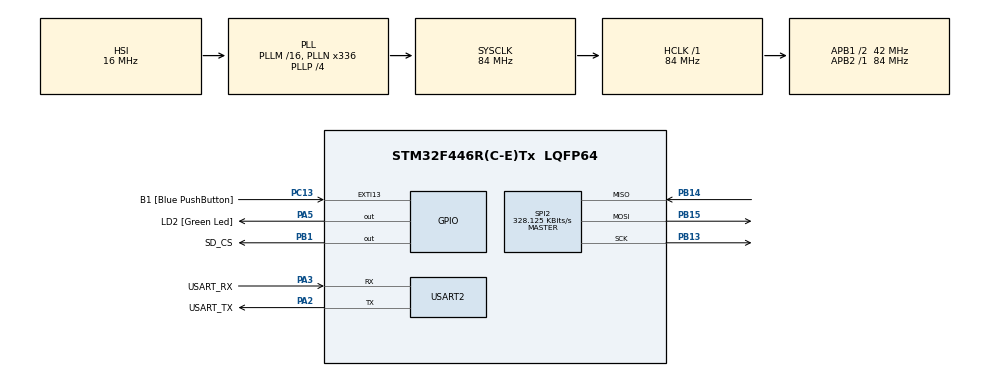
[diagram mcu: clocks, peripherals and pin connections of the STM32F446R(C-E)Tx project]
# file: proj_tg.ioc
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FATFS._FS_TINY=1
Mcu.Family=STM32F4
Mcu.Name=STM32F446R(C-E)Tx
Mcu.Package=LQFP64
NVIC.PriorityGroup=NVIC_PRIORITYGROUP_0
PA13.GPIO_Label=TMS
PA13.Mode=Serial_Wire
PA13.Signal=SYS_JTMS-SWDIO
PA14.GPIO_Label=TCK
PA14.Mode=Serial_Wire
PA14.Signal=SYS_JTCK-SWCLK
PA2.GPIO_Label=USART_TX
PA2.Mode=Asynchronous
PA2.Signal=USART2_TX
PA3.GPIO_Label=USART_RX
PA3.Mode=Asynchronous
PA3.Signal=USART2_RX
PA5.GPIO_Label=LD2 [Green Led]
PA5.Signal=GPIO_Output
PB1.GPIO_Label=SD_CS
PB1.GPIO_PuPd=GPIO_PULLUP
PB1.GPIO_Speed=GPIO_SPEED_FREQ_HIGH
PB1.Signal=GPIO_Output
PB13.Mode=Full_Duplex_Master
PB13.Signal=SPI2_SCK
PB14.GPIO_PuPd=GPIO_PULLUP
PB14.Mode=Full_Duplex_Master
PB14.Signal=SPI2_MISO
PB15.GPIO_PuPd=GPIO_PULLUP
PB15.Mode=Full_Duplex_Master
PB15.Signal=SPI2_MOSI
PB3.GPIO_Label=SWO
PB3.Signal=SYS_JTDO-SWO
PC13.GPIO_Label=B1 [Blue PushButton]
PC13.GPIO_ModeDefaultEXTI=GPIO_MODE_IT_FALLING
PC13.Signal=GPXTI13
PC14-OSC32_IN.Mode=LSE-External-Oscillator
PC14-OSC32_IN.Signal=RCC_OSC32_IN
PC15-OSC32_OUT.Mode=LSE-External-Oscillator
PC15-OSC32_OUT.Signal=RCC_OSC32_OUT
PH0-OSC_IN.Mode=HSE-External-Oscillator
PH0-OSC_IN.Signal=RCC_OSC_IN
PH1-OSC_OUT.Mode=HSE-External-Oscillator
PH1-OSC_OUT.Signal=RCC_OSC_OUT
ProjectManager.HeapSize=0x800
ProjectManager.StackSize=0x800
ProjectManager.TargetToolchain=STM32CubeIDE
RCC.48MHZClocksFreq_Value=84000000
RCC.AHBFreq_Value=84000000
RCC.APB1CLKDivider=RCC_HCLK_DIV2
RCC.APB1Freq_Value=42000000
RCC.APB1TimFreq_Value=84000000
RCC.APB2Freq_Value=84000000
RCC.APB2TimFreq_Value=84000000
RCC.CortexFreq_Value=84000000
RCC.FLatency-AdvancedSettings=FLASH_LATENCY_2
RCC.HCLKFreq_Value=84000000
RCC.HSE_VALUE=8000000
RCC.HSI_VALUE=16000000
RCC.PLLN=336
RCC.PLLP=RCC_PLLP_DIV4
RCC.SYSCLKFreq_VALUE=84000000
RCC.SYSCLKSource=RCC_SYSCLKSOURCE_PLLCLK
RCC.USBFreq_Value=168000000
RCC.VCOOutputFreq_Value=336000000
SPI2.BaudRatePrescaler=SPI_BAUDRATEPRESCALER_128
SPI2.CalculateBaudRate=328.125 KBits/s
SPI2.Direction=SPI_DIRECTION_2LINES
SPI2.Mode=SPI_MODE_MASTER
SPI2.VirtualType=VM_MASTER
STMicroelectronics.X-CUBE-AI.8.1.0.HeapSize=0x800
STMicroelectronics.X-CUBE-AI.8.1.0.ReadyForCodeGeneration=false
STMicroelectronics.X-CUBE-AI.8.1.0.StackSize=0x800
USART2.VirtualMode=VM_ASYNC
VP_FATFS_VS_Generic.Mode=User_defined
board=NUCLEO-F446RE

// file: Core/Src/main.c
/* USER CODE BEGIN Header */
/**
 ******************************************************************************
 * @file           : main.c
 * @brief          : Main program body
 ******************************************************************************
 * @attention
 *
 * Copyright (c) 2023 STMicroelectronics.
 * All rights reserved.
 *
 * This software is licensed under terms that can be found in the LICENSE file
 * in the root directory of this software component.
 * If no LICENSE file comes with this software, it is provided AS-IS.
 *
 ******************************************************************************
 */
/*
 * proj_tg ->	Projeto onde eu faco a leitura dos arquivos de audio um cartao
 * 			 	SD para um buffer e depois faco a inferencia com base nos dados
 * 			 	lidos.
 */

/* USER CODE END Header */
#include "main.h"
#include "fatfs.h"

/* USER CODE BEGIN Includes */
#define ARM_MATH_CM4
#include "arm_math.h"
#include <stdio.h>
#include <string.h>
#include <stdarg.h> //for va_list var arg functions
#include <math.h>
#include "FeatureExtraction.h"
#include "SDCard.h"
#include "decision_tree_model.h"
//#include "extra_trees_model.h"
//#include "gaussian_naive_bayes_model.h"
//#include "random_forest_model.h"

/* USER CODE END Includes */

/* USER CODE BEGIN PTD */
typedef struct {
	char chunkID[4];
	uint32_t chunkSize;
	char format[4];
	char subchunk1ID[4];
	uint32_t subchunk1Size;
	uint16_t audioFormat;
	uint16_t numChannels;
	uint32_t sampleRate;
	uint32_t byteRate;
	uint16_t blockAlign;
	uint16_t bitsPerSample;
	char subchunk2ID[4];
	uint32_t subchunk2Size;
} WAVHeader; //

/* USER CODE END PTD */

/* USER CODE BEGIN PD */
#define AUDIO_FILE_NAME "audio.wav"
#define CSV_FILE_NAME "audio.csv"
#define CSV_HEADER "RMS,Variance,Skewness,Kurtosis,CrestFactor,ShapeFactor,ImpulseFactor,MarginFactor,Peak1,Peak2,Peak3,PeakLocs1,PeakLocs2,PeakLocs3"
#define INPUT_BUFFER_SIZE 4096
#define HALF_INPUT_BUFFER_SIZE (INPUT_BUFFER_SIZE / 2)
#define INPUT_SIGNAL_SIZE (INPUT_BUFFER_SIZE * 2)
#define OUTPUT_SIGNAL_SIZE (INPUT_SIGNAL_SIZE / 2)
#define SAMPLE_RATE_HZ 44800 											//TODO: MUDAR DE ACORDO COM O VALOR REAL MOSTRADO PELO PROJETO
#define OVERLAP_FACTOR 0.75  											// Overlapping de 75%
#define ADVANCE_SIZE (int)(INPUT_BUFFER_SIZE * (1.0f - OVERLAP_FACTOR)) // 25% de avanco

//#define INT16_TO_FLOAT (1.0 / (32768.0f))
//#define FLOAT_TO_INT16 32768.0f
#define INT_TO_FLOAT (1.0 / (4096.0f))
#define FLOAT_TO_INT 4096.0f

// Definir apenas uma dessas opcoes:
#define USE_SD_AUDIO           		// Usar audio do cartao SD
//#define USE_MIC_AUDIO             // Usar microfone (ADC + DMA)

// Verificação para garantir que apenas uma opcao esta ativa
#if defined(USE_SD_AUDIO) && defined(USE_MIC_AUDIO)
	#error "Vocc deve definir apenas uma das opcoes: USE_SD_AUDIO ou USE_MIC_AUDIO"
#endif

/* USER CODE END PD */

SPI_HandleTypeDef hspi2;

UART_HandleTypeDef huart2;

/* USER CODE BEGIN PV */
// Variaveis comuns
static volatile int16_t inputBuffer[INPUT_BUFFER_SIZE];	// Buffer para armazenar os dados de entrada (ADC ou arquivo .wav)
static float32_t inputSignal[INPUT_SIGNAL_SIZE]; 		// Buffer de entrada da FFT
float32_t outputSignal[OUTPUT_SIGNAL_SIZE]; 			// Buffer de saída para os resultados
float32_t hanningWindow[OUTPUT_SIGNAL_SIZE]; 			// Buffer para a janela de hanning
//static volatile uint8_t fftBufferReadyFlag; 			// Variavel que informa se o buffer entrada da FFT esta pronto para processamento
arm_rfft_fast_instance_f32 fftHandler;					// Esturura para FFT real

#ifdef USE_SD_AUDIO
int16_t audioBuffer[INPUT_BUFFER_SIZE]; // Buffer para armazenar amostras de áudio lidas do arquivo WAV
FATFS FatFs; 							// Estrutura do FatFs
FIL inputFile;           				// Estrtura de um arquivo do FatFs (Arquivo WAV no cartão SD)
FIL outputFile;           				// Estrtura de um arquivo do FatFs (Arquivo csv no cartão SD)
FRESULT fres; 							// Estutura de resultado de uma operacao do FatFs
UINT bytesRead;                     	// Numero de bytes lidos do arquivo
WAVHeader wavHeader;					// Estura de um cabecalho de um arquivo .wav
uint32_t dataSize;						// Variavel para armazenar a quantidade de dados lida do sd card
#endif

#ifdef USE_MIC_AUDIO
	int16_t adcBuffer[INPUT_BUFFER_SIZE];		// Buffer de dados do ADC para capturar audio do microfone
	static volatile uint8_t bufferReadyFlag;	// Variavel que informa se o inputBuffer esta pronto para leitura
	ADC_HandleTypeDef hadc1;					// Estrutura do ADC
	TIM_HandleTypeDef htim2;					// Estrutura do Timer 2 para o DMA
#endif

// Time Domain Features
static TDFeatures tdFeatures = { 0 }; // Estrutura das features relacionadas ao dominio do Tempo

// Frequency Domain Features
static FDFeatures fdFeatures = { 0 }; // Estrutura das features relacionadas ao dominio da Frequencia

/* USER CODE END PV */

void SystemClock_Config(void);
static void MX_GPIO_Init(void);
static void MX_USART2_UART_Init(void);
static void MX_SPI2_Init(void);
/* USER CODE BEGIN PFP */

// Prototipos relacionados a leitura de arquivos de audio no SDCard
#ifdef USE_SD_AUDIO
FRESULT readWAVHeader(FIL *file, WAVHeader *header);
FRESULT readWAVData(FIL *file, void *buffer, UINT numBytesToRead,
		UINT *numBytesRead);
void printWAVHeader(const WAVHeader *header);
FRESULT readAllWavFile(FIL *file, WAVHeader *header);
#endif

// Pre-processamento
void createHanningWindow(float32_t *window, int size);

// Funcoes de suporte
void myprintf(const char *fmt, ...);
void printFeatures(TDFeatures *tdFeat, FDFeatures *fdFeat);
void formatFeaturestoString(char **bufferPtr, TDFeatures *tdFeat, FDFeatures *fdFeat);
int createFormatedString(char **bufferPtr, const char *fmt, ...);

// Funcoes relacionado a inferencia
int32_t decision_tree_test(void);
int32_t extra_trees_test(void);
int32_t gaussian_naive_bayes_test(void);
int32_t random_forest_test(void);
int32_t run_inference(int32_t (*func)(void));

#ifdef USE_MIC_AUDIO
	void HAL_ADC_ConvHalfCpltCallback(ADC_HandleTypeDef *hadc);
	void HAL_ADC_ConvCpltCallback(ADC_HandleTypeDef *hadc);
	static void ADC_Init(void);
	//static void MX_ADC1_Init(void);
	//static void MX_TIM2_Init(void);
#endif

/* USER CODE END PFP */

int main(void) {

	/* MCU Configuration--------------------------------------------------------*/

	/* Reset of all peripherals, Initializes the Flash interface and the Systick. */
	HAL_Init();

	/* USER CODE BEGIN Init */

	arm_rfft_fast_init_f32(&fftHandler, OUTPUT_SIGNAL_SIZE); // Inicializa Estrutura Handler da FFT

	/* USER CODE END Init */

	/* Configure the system clock */
	SystemClock_Config();

	/* Initialize all configured peripherals */
	MX_GPIO_Init();
	MX_USART2_UART_Init();
	MX_SPI2_Init();
	/* USER CODE BEGIN 2 */

	uint32_t sampleRate;
//	uint16_t numChannels;
//	uint16_t bitsPerSample;

#ifdef USE_SD_AUDIO
	MX_FATFS_Init();
	HAL_Delay(3000); 		// Um delay para o cartao SD estabilizar
	SDCard_Init(&FatFs);

	// Montagem do file system
	fres = SDCard_Mount();
	if (fres != FR_OK) {
		myprintf("[ERRO] Erro no SDCard_Mount. Codigo do erro: (%i)\r\n", fres);
		while (1) {
		} // loop infinito para travar a execucao do programa
	}

	// Tenta abrir o arquivo com o nome defino pela flag AUDIO_FILE_NAME
	fres = SDCard_OpenFile(&inputFile, AUDIO_FILE_NAME, FA_READ);
	if (fres != FR_OK) {
		myprintf("[ERRO] Erro ao abrir arquivo '%s'. Codigo do erro: (%i)\r\n",
				AUDIO_FILE_NAME, fres);

		SDCard_Unmount();

		while (1) {
		} // loop infinito para travar a execucao do programa
	}

	// Tenta criar o arquivo com o nome defino pela flag CSV_FILE_NAME
	fres = SDCard_OpenFile(&outputFile, CSV_FILE_NAME, FA_CREATE_ALWAYS | FA_WRITE);
		if (fres != FR_OK) {
			myprintf("[ERRO] Erro ao abrir arquivo '%s'. Codigo do erro: (%i)\r\n",
					CSV_FILE_NAME, fres);

			SDCard_CloseFile(&inputFile);
			SDCard_Unmount();

			while (1) {
			} // loop infinito para travar a execucao do programa
		}

	// Ler o cabeçalho do arquivo WAV
	fres = readWAVHeader(&inputFile, &wavHeader);
	if (fres != FR_OK) {
		// Lidar com erros na leitura do cabeçalho
		myprintf(
				"[ERRO] Erro ao abrir arquivo '.wav'. Codigo do erro: (%i)\r\n",
				fres);

		SDCard_CloseFile(&inputFile);
		SDCard_CloseFile(&outputFile);
		SDCard_Unmount();

		while (1) {
		} // loop infinito para travar a execucao do programa
	}

	printWAVHeader(&wavHeader);

	// Verificar se é um arquivo WAV válido
	if (strncmp(wavHeader.chunkID, "RIFF", 4) == 0
			&& strncmp(wavHeader.format, "WAVE", 4) == 0) {

		// Acessando os campos do cabeçalho WAV
		sampleRate = wavHeader.sampleRate;
//		numChannels = wavHeader.numChannels;
//		bitsPerSample = wavHeader.bitsPerSample;

		// Agora, leia os dados do arquivo com base nas informações do cabeçalho
		dataSize = wavHeader.subchunk2Size;

		HAL_Delay(1000); 		// Um delay para o cartao SD estabilizar
	} else {
		// Não é um arquivo WAV válido
		// TODO: Adotar lógica de tratamento de erro apropriada
		myprintf("[ERRO] Arquivo de audio '.wav' nao e valido!");
		while (1) {
		} // loop infinito para travar a execucao do programa
	}

#endif

#ifdef USE_MIC_AUDIO
	bufferReadyFlag = 0;

	void ADC_Init(void);

	// Habilida o timer 2
	if(HAL_TIM_PWM_Start(&htim2, TIM_CHANNEL_1) != HAL_OK) {
		Error_Handler();
	}
#endif

	/* USER CODE END 2 */

	/* Infinite loop */
	/* USER CODE BEGIN WHILE */

	myprintf("\r\n~ Projeto TG by Italo ~\r\n\r\n");

	// Criar o vetor da janela Hanning
	arm_fill_f32(0.0f, inputSignal, OUTPUT_SIGNAL_SIZE); // Preenche o inputSignal com 0.0 inicialmente
	arm_fill_f32(1.0f, hanningWindow, OUTPUT_SIGNAL_SIZE); // Preenche o hanningWindow com 1.0 inicialmente
	createHanningWindow(hanningWindow, OUTPUT_SIGNAL_SIZE); // Aplica o janelamento Hanning no vetor

	myprintf("\r\n~ Processando dados ~\r\n\r\n");

	char *outputString; 	// variavel para armazenar a string de saida
//	int outputStringSize;	// tamanho da string descontando o caracter nulo

	SDCard_WriteLine(&outputFile, CSV_HEADER);

	while (1) {
#ifdef USE_SD_AUDIO

		size_t bytesToRead =
				(dataSize > INPUT_BUFFER_SIZE) ? INPUT_BUFFER_SIZE : dataSize;
//		myprintf("\r\n~ Lendo arquivo do cartao SD ~\r\n\r\n");

		fres = SDCard_Read(&inputFile, inputBuffer, bytesToRead, &bytesRead);

//		myprintf("[INFO] SDCard_Read. fres= %d , bytesToRead= %d, bytesRead= %d", fres, bytesToRead, bytesRead);
		// Ler amostras de audio do arquivo .wav no cartão SD
		if ( fres == FR_OK && bytesRead > 0) {
			// Converter as amostras de 16 bits para float32_t e normalizar
			for (int i = 0; i < INPUT_BUFFER_SIZE; i++) {
				// Copia os dados para segunda metade do inputSignal
				inputSignal[INPUT_BUFFER_SIZE + i] = (float32_t) inputBuffer[i];
//				inputSignal[INPUT_BUFFER_SIZE + i] = (float32_t) inputBuffer[i] / 32768.0f; // Normalizacao de 16 bits para float
			}
		} else {
			// Erro de leitura ou fim de arquivo
			//f_lseek(&inputFile, 44); 	// Reinicia o arquivo (ciclo)

			// Fecha os arquivos WAV, CSV e desmontar o sistema de arquivos
			SDCard_CloseFile(&inputFile);
			SDCard_CloseFile(&outputFile);
			SDCard_Unmount();
			myprintf("\r\n~ Fim do processamento ~\r\n\r\n");
			break;
		}
#endif

#ifdef USE_MIC_AUDIO
		// Capturar dados do microfone via ADC
		sampleRate = SAMPLE_RATE_HZ;

		// Copia os dados para segunda metade do inputSignal
		for (int i = 0; i < INPUT_BUFFER_SIZE; i++) {
			inputSignal[INPUT_BUFFER_SIZE + i] = (float32_t) inputBuffer[i];
//			inputSignal[INPUT_BUFFER_SIZE + i] = (float32_t) adcBuffer[i] / 4096.0f; // Normalizaçcao de 12 bits (4096) para float
		}
#endif

		// Processamento dos dados lidos (no buffer) necessário
		//  Overlapping de 75% antes do janelamento
		for (int n = (int) (INPUT_BUFFER_SIZE * (1.0f - OVERLAP_FACTOR));
				n <= INPUT_BUFFER_SIZE;
				n = n + (INPUT_BUFFER_SIZE * ADVANCE_SIZE )) {

			/* Pre-processamento --------------------------------------------------------*/

			// TODO: Testar possivel otimizacao removendo essa copia inicial e
			//       fazendo a multiplicacao direta da janela com o input buffer
			//  Overlapping de 75% antes do janelamento
//			arm_copy_f32(&inputBuffer[n], inputSignal, OUTPUT_SIGNAL_SIZE);
			// Aplica a janela de hanning no buffer de entrada da fft
			arm_mult_f32(inputSignal, hanningWindow, inputSignal,
					OUTPUT_SIGNAL_SIZE);

			// Calcula fft usando a biblioteca da ARM
			arm_rfft_fast_f32(&fftHandler, inputSignal, outputSignal, 0); // o ultimo argumento significa que nao queremos calcular a fft inversa

			/* Extracao das Features no Dominio do Tempo --------------------------------*/

//			uint32_t startTick = SysTick->VAL;
			extractTimeDomainFeatures(&tdFeatures, inputSignal,
					OUTPUT_SIGNAL_SIZE);
//			uint32_t endTick = SysTick->VAL;

			/* Extracao das Features no Dominio da Frequencia ---------------------------*/

//			uint32_t startTick = SysTick->VAL;
			extractFrequencyDomainFeatures(&fdFeatures, outputSignal,
					INPUT_BUFFER_SIZE, sampleRate);
//			uint32_t endTick = SysTick->VAL;

			/* Faz Inferencia -----------------------------------------------------------*/
//			int32_t result = run_inference(decision_tree_test);
			// TODO: Imprimir no console as features
			printFeatures(&tdFeatures, &fdFeatures);
			formatFeaturestoString(&outputString, &tdFeatures, &fdFeatures);
			SDCard_WriteLine(&outputFile, outputString);
//			myprintf("Inference result: %d\r\n", result);

		}

		// Atualiza a primeira metade do inputSignal para proxima janela de dados
		arm_copy_f32(&inputSignal[INPUT_BUFFER_SIZE], &inputSignal[0],
				OUTPUT_SIGNAL_SIZE);

		// Desaloca memoria usado para escrever no SDCard
#ifdef USE_MIC_AUDIO
		bufferReadyFlag = 0;
#endif
		/* USER CODE END WHILE */

		/* USER CODE BEGIN 3 */
	}

	myprintf("\r\n~ Fim ~\r\n\r\n");
	while (1) {
		HAL_GPIO_TogglePin(LD2_GPIO_Port, LD2_Pin);
		HAL_Delay(1000);
	}
	/* USER CODE END 3 */
}

void SystemClock_Config(void) {
	RCC_OscInitTypeDef RCC_OscInitStruct = { 0 };
	RCC_ClkInitTypeDef RCC_ClkInitStruct = { 0 };

	/** Configure the main internal regulator output voltage
	 */
	__HAL_RCC_PWR_CLK_ENABLE();
	__HAL_PWR_VOLTAGESCALING_CONFIG(PWR_REGULATOR_VOLTAGE_SCALE3);

	/** Initializes the RCC Oscillators according to the specified parameters
	 * in the RCC_OscInitTypeDef structure.
	 */
	RCC_OscInitStruct.OscillatorType = RCC_OSCILLATORTYPE_HSI;
	RCC_OscInitStruct.HSIState = RCC_HSI_ON;
	RCC_OscInitStruct.HSICalibrationValue = RCC_HSICALIBRATION_DEFAULT;
	RCC_OscInitStruct.PLL.PLLState = RCC_PLL_ON;
	RCC_OscInitStruct.PLL.PLLSource = RCC_PLLSOURCE_HSI;
	RCC_OscInitStruct.PLL.PLLM = 16;
	RCC_OscInitStruct.PLL.PLLN = 336;
	RCC_OscInitStruct.PLL.PLLP = RCC_PLLP_DIV4;
	RCC_OscInitStruct.PLL.PLLQ = 2;
	RCC_OscInitStruct.PLL.PLLR = 2;
	if (HAL_RCC_OscConfig(&RCC_OscInitStruct) != HAL_OK) {
		Error_Handler();
	}

	/** Initializes the CPU, AHB and APB buses clocks
	 */
	RCC_ClkInitStruct.ClockType = RCC_CLOCKTYPE_HCLK | RCC_CLOCKTYPE_SYSCLK
			| RCC_CLOCKTYPE_PCLK1 | RCC_CLOCKTYPE_PCLK2;
	RCC_ClkInitStruct.SYSCLKSource = RCC_SYSCLKSOURCE_PLLCLK;
	RCC_ClkInitStruct.AHBCLKDivider = RCC_SYSCLK_DIV1;
	RCC_ClkInitStruct.APB1CLKDivider = RCC_HCLK_DIV2;
	RCC_ClkInitStruct.APB2CLKDivider = RCC_HCLK_DIV1;

	if (HAL_RCC_ClockConfig(&RCC_ClkInitStruct, FLASH_LATENCY_2) != HAL_OK) {
		Error_Handler();
	}
}

static void MX_SPI2_Init(void) {

	/* SPI2 parameter configuration*/
	hspi2.Instance = SPI2;
	hspi2.Init.Mode = SPI_MODE_MASTER;
	hspi2.Init.Direction = SPI_DIRECTION_2LINES;
	hspi2.Init.DataSize = SPI_DATASIZE_8BIT;
	hspi2.Init.CLKPolarity = SPI_POLARITY_LOW;
	hspi2.Init.CLKPhase = SPI_PHASE_1EDGE;
	hspi2.Init.NSS = SPI_NSS_SOFT;
	hspi2.Init.BaudRatePrescaler = SPI_BAUDRATEPRESCALER_128;
	hspi2.Init.FirstBit = SPI_FIRSTBIT_MSB;
	hspi2.Init.TIMode = SPI_TIMODE_DISABLE;
	hspi2.Init.CRCCalculation = SPI_CRCCALCULATION_DISABLE;
	hspi2.Init.CRCPolynomial = 10;
	if (HAL_SPI_Init(&hspi2) != HAL_OK) {
		Error_Handler();
	}

}

static void MX_USART2_UART_Init(void) {

	huart2.Instance = USART2;
	huart2.Init.BaudRate = 115200;
	huart2.Init.WordLength = UART_WORDLENGTH_8B;
	huart2.Init.StopBits = UART_STOPBITS_1;
	huart2.Init.Parity = UART_PARITY_NONE;
	huart2.Init.Mode = UART_MODE_TX_RX;
	huart2.Init.HwFlowCtl = UART_HWCONTROL_NONE;
	huart2.Init.OverSampling = UART_OVERSAMPLING_16;
	if (HAL_UART_Init(&huart2) != HAL_OK) {
		Error_Handler();
	}

}

static void MX_GPIO_Init(void) {
	GPIO_InitTypeDef GPIO_InitStruct = { 0 };

	/* GPIO Ports Clock Enable */
	__HAL_RCC_GPIOC_CLK_ENABLE();
	__HAL_RCC_GPIOH_CLK_ENABLE();
	__HAL_RCC_GPIOA_CLK_ENABLE();
	__HAL_RCC_GPIOB_CLK_ENABLE();

	/*Configure GPIO pin Output Level */
	HAL_GPIO_WritePin(LD2_GPIO_Port, LD2_Pin, GPIO_PIN_RESET);

	/*Configure GPIO pin Output Level */
	HAL_GPIO_WritePin(SD_CS_GPIO_Port, SD_CS_Pin, GPIO_PIN_RESET);

	/*Configure GPIO pin : B1_Pin */
	GPIO_InitStruct.Pin = B1_Pin;
	GPIO_InitStruct.Mode = GPIO_MODE_IT_FALLING;
	GPIO_InitStruct.Pull = GPIO_NOPULL;
	HAL_GPIO_Init(B1_GPIO_Port, &GPIO_InitStruct);

	/*Configure GPIO pin : LD2_Pin */
	GPIO_InitStruct.Pin = LD2_Pin;
	GPIO_InitStruct.Mode = GPIO_MODE_OUTPUT_PP;
	GPIO_InitStruct.Pull = GPIO_NOPULL;
	GPIO_InitStruct.Speed = GPIO_SPEED_FREQ_LOW;
	HAL_GPIO_Init(LD2_GPIO_Port, &GPIO_InitStruct);

	/*Configure GPIO pin : SD_CS_Pin */
	GPIO_InitStruct.Pin = SD_CS_Pin;
	GPIO_InitStruct.Mode = GPIO_MODE_OUTPUT_PP;
	GPIO_InitStruct.Pull = GPIO_PULLUP;
	GPIO_InitStruct.Speed = GPIO_SPEED_FREQ_HIGH;
	HAL_GPIO_Init(SD_CS_GPIO_Port, &GPIO_InitStruct);

}

/* USER CODE BEGIN 4 */
void createHanningWindow(float32_t *window, int size) {
	for (int n = 0; n < size; n++) {
		window[n] = window[n] * (0.5 - 0.5 * cos(2.0 * M_PI * n / (size - 1)));
	}
}

void myprintf(const char *fmt, ...) {
	static char buffer[256];
	va_list args;
	va_start(args, fmt);
	vsnprintf(buffer, sizeof(buffer), fmt, args);
	va_end(args);

	int len = strlen(buffer);
	HAL_UART_Transmit(&huart2, (uint8_t*) buffer, len, -1);

}

void printFeatures(TDFeatures *tdFeat, FDFeatures *fdFeat) {
//	RMS,~~Mean~~,~~Median~~,Variance,Skewness,Kurtosis,CrestFactor,ShapeFactor,ImpulseFactor,MarginFactor,Peak1,Peak2,Peak3,PeakLocs1,PeakLocs2,PeakLocs3,~~FalutID~~
	myprintf("%G,%G,%G,%G,%G,%G,%G,%G,%G,%ld,%ld,%ld,%ld,%ld,%ld\r\n",
			tdFeat->RMS,
			tdFeat->VarianceVal,
			tdFeat->SigSkewnessVal,
			tdFeat->SigKurtosisVal,
			tdFeat->SigKurtosisVal,
			tdFeat->SigCrestFactor,
			tdFeat->SigShapeFactor,
			tdFeat->SigImpulseFactor,
			tdFeat->SigMarginFactor,
			fdFeat->PeakAmp1,
			fdFeat->PeakAmp2,
			fdFeat->PeakAmp3,
			fdFeat->PeakLocs1,
			fdFeat->PeakLocs2,
			fdFeat->PeakLocs3
			);
}

void formatFeaturestoString(char **bufferPtr, TDFeatures *tdFeat, FDFeatures *fdFeat) {
	createFormatedString(
			bufferPtr,
			"%G,%G,%G,%G,%G,%G,%G,%G,%G,%ld,%ld,%ld,%ld,%ld,%ld",
			tdFeat->RMS,
			tdFeat->VarianceVal,
			tdFeat->SigSkewnessVal,
			tdFeat->SigKurtosisVal,
			tdFeat->SigKurtosisVal,
			tdFeat->SigCrestFactor,
			tdFeat->SigShapeFactor,
			tdFeat->SigImpulseFactor,
			tdFeat->SigMarginFactor,
			fdFeat->PeakAmp1,
			fdFeat->PeakAmp2,
			fdFeat->PeakAmp3,
			fdFeat->PeakLocs1,
			fdFeat->PeakLocs2,
			fdFeat->PeakLocs3
			);
}

int createFormatedString(char **bufferPtr, const char *fmt, ...) {
	va_list args;
	va_start(args, fmt);

	// Calcula o tamanho necessario
	int len = vsnprintf(NULL, 0, fmt, args);
	va_end(args);

	if (len < 0) {
		return -1;  // Erro ao calcular o tamanho
	}

	// Aloca memoria suficiente para a string
	*bufferPtr = (char *)malloc(len + 1);  // +1 para o terminador nulo

	if (*bufferPtr == NULL) {
		return -1;  // Falha na alocacao de memoria
	}

	// Escreve a string formatada no buffer alocado
	va_start(args, fmt);
	int result = vsnprintf(*bufferPtr, len + 1, fmt, args);  // Escreve a string
	va_end(args);

	// Retorna o numero de caracteres escritos (sem o terminador nulo)
	return result;
}

FRESULT readWAVHeader(FIL *file, WAVHeader *header) {
	FRESULT res;

	// Ler o cabeçalho do arquivo WAV
	UINT bytesRead;
	res = f_read(file, header, sizeof(WAVHeader), &bytesRead);

	if (res != FR_OK || bytesRead != sizeof(WAVHeader)) {
		// Lidar com erro na leitura do cabeçalho
		return res;
	}

	// Verificar se é um arquivo WAV
	if (strncmp(header->chunkID, "RIFF", 4) != 0
			|| strncmp(header->format, "WAVE", 4) != 0) {
		// Lidar com erro - não é um arquivo WAV válido
		return FR_NOT_ENABLED;
	}

	// Outras verificações e manipulações podem ser adicionadas conforme necessário

	return FR_OK;
}

FRESULT readWAVData(FIL *file, void *buffer, UINT numBytesToRead,
		UINT *numBytesRead) {
	// Ler dados do arquivo WAV
	return f_read(file, buffer, numBytesToRead, numBytesRead);
}

FRESULT readAllWavFile(FIL *file, WAVHeader *header) {
//	int buffer[1024];
//	for (int i = 0, i<= header.)
	return 0;
}

void printWAVHeader(const WAVHeader *header) {
	myprintf("chunkID: %.4s \r\n", header->chunkID);
	myprintf("chunkSize: %u \r\n", header->chunkSize);
	myprintf("format: %.4s \r\n", header->format);
	myprintf("subchunk1ID: %.4s \r\n", header->subchunk1ID);
	myprintf("subchunk1Size: %u \r\n", header->subchunk1Size);
	myprintf("audioFormat: %u \r\n", header->audioFormat);
	myprintf("numChannels: %u \r\n", header->numChannels);
	myprintf("sampleRate: %u \r\n", header->sampleRate);
	myprintf("byteRate: %u \r\n", header->byteRate);
	myprintf("blockAlign: %u \r\n", header->blockAlign);
	myprintf("bitsPerSample: %u \r\n", header->bitsPerSample);
	myprintf("subchunk2ID: %.4s \r\n", header->subchunk2ID);
	myprintf("subchunk2Size: %u \r\n", header->subchunk2Size);
}

//void HAL_ADC_ConvHalfCpltCallback(ADC_HandleTypeDef *hadc) {
//
////	arm_copy_f32(&adcBuffer[0], &inputBuffer[HALF_INPUT_BUFFER_SIZE], OUTPUT_SIGNAL_SIZE);
//	for (int i = 0; i < OUTPUT_SIGNAL_SIZE; i++) {
//		inputBuffer[HALF_INPUT_BUFFER_SIZE + i] = (float32_t) adcBuffer[i];
////		inputBuffer[HALF_INPUT_BUFFER_SIZE+i] = adcBuffer[i] * INT16_TO_FLOAT;
////		inputBuffer[HALF_INPUT_BUFFER_SIZE+i] = (float32_t) adcBuffer[i] * INT_TO_FLOAT;
//
//	}
////habilita flag indica que o buffer esta pronto para processamento
//	bufferReadyFlag = 1;
//
//	HAL_GPIO_TogglePin(D7_GPIO_Port, D7_Pin);
////	HAL_UART_Transmit(&huart2, (uint8_t*)"HALF\r\n", 6, HAL_MAX_DELAY);
//}
//
//void HAL_ADC_ConvCpltCallback(ADC_HandleTypeDef *hadc) {
//
////	arm_copy_f32(&adcBuffer[HALF_INPUT_BUFFER_SIZE], &inputBuffer[HALF_INPUT_BUFFER_SIZE], OUTPUT_SIGNAL_SIZE);
//	for (int i = 0; i < OUTPUT_SIGNAL_SIZE; i++) {
//		inputBuffer[HALF_INPUT_BUFFER_SIZE + i] =
//				(float32_t) adcBuffer[HALF_INPUT_BUFFER_SIZE + i];
////		inputBuffer[HALF_INPUT_BUFFER_SIZE+i] = adcBuffer[HALF_INPUT_BUFFER_SIZE+i] * INT16_TO_FLOAT;
////		inputBuffer[HALF_INPUT_BUFFER_SIZE+i] = (float32_t) adcBuffer[HALF_INPUT_BUFFER_SIZE+i] * INT_TO_FLOAT;
//	}
////habilita flag indica que o buffer esta pronto para processamento
//	bufferReadyFlag = 1;
//
//	HAL_GPIO_TogglePin(D7_GPIO_Port, D7_Pin);
////	HAL_UART_Transmit(&huart2, (uint8_t*)"FULL\r\n", 6, HAL_MAX_DELAY);
//}

int32_t decision_tree_test(void) {
	const int n_features = 14;
//	const int n_testcases = testset_samples;
	float32_t features[] = { tdFeatures.RMS, tdFeatures.VarianceVal,
			tdFeatures.SigShapeFactor, tdFeatures.SigKurtosisVal,
			tdFeatures.SigSkewnessVal, tdFeatures.SigImpulseFactor,
			tdFeatures.SigCrestFactor, tdFeatures.SigMarginFactor,
			fdFeatures.PeakAmp1, fdFeatures.PeakAmp2, fdFeatures.PeakAmp3,
			fdFeatures.PeakLocs1, fdFeatures.PeakLocs2, fdFeatures.PeakLocs3 };
//	int errors = 0;
//	char msg[80];
	const int32_t out = model_predict(features, n_features);

//	if (out != expect_result) {
//		printf("test-fail sample=%d expect=%d got=%d \r\n", i, expect_result, out);
//			errors += 1;
//	}

//	sprintf(msg, "test decision_tree result=%d \r\n", out);
//	HAL_UART_Transmit(&huart2, (uint8_t*) msg, strlen(msg), HAL_MAX_DELAY);
//	HAL_UART_Transmit(&huart2, (uint8_t*) "\r\n", strlen("\r\n"),
//	HAL_MAX_DELAY);

	return out;
}

int32_t extra_trees_test(void) {
	const int n_features = 14;
//	const int n_testcases = testset_samples;
	float32_t features[] = { tdFeatures.RMS, tdFeatures.VarianceVal,
			tdFeatures.SigShapeFactor, tdFeatures.SigKurtosisVal,
			tdFeatures.SigSkewnessVal, tdFeatures.SigImpulseFactor,
			tdFeatures.SigCrestFactor, tdFeatures.SigMarginFactor,
			fdFeatures.PeakAmp1, fdFeatures.PeakAmp2, fdFeatures.PeakAmp3,
			fdFeatures.PeakLocs1, fdFeatures.PeakLocs2, fdFeatures.PeakLocs3 };

//	int errors = 0;
	char msg[80];
	const int32_t out = model_predict(features, n_features);

//	if (out != expect_result) {
//		printf("test-fail sample=%d expect=%d got=%d \r\n", i, expect_result, out);
//			errors += 1;
//	}

	sprintf(msg, "test extra_trees result=%ld \r\n", out);
	HAL_UART_Transmit(&huart2, (uint8_t*) msg, strlen(msg), HAL_MAX_DELAY);
	HAL_UART_Transmit(&huart2, (uint8_t*) "\r\n", strlen("\r\n"),
	HAL_MAX_DELAY);

	return out;
}

int32_t gaussian_naive_bayes_test(void) {
	const int n_features = 14;
//	const int n_testcases = testset_samples;
	float32_t features[] = { tdFeatures.RMS, tdFeatures.VarianceVal,
			tdFeatures.SigShapeFactor, tdFeatures.SigKurtosisVal,
			tdFeatures.SigSkewnessVal, tdFeatures.SigImpulseFactor,
			tdFeatures.SigCrestFactor, tdFeatures.SigMarginFactor,
			fdFeatures.PeakAmp1, fdFeatures.PeakAmp2, fdFeatures.PeakAmp3,
			fdFeatures.PeakLocs1, fdFeatures.PeakLocs2, fdFeatures.PeakLocs3 };

//	int errors = 0;
	char msg[80];
	const int32_t out = model_predict(features, n_features);

//	if (out != expect_result) {
//		printf("test-fail sample=%d expect=%d got=%d \r\n", i, expect_result, out);
//			errors += 1;
//	}

	sprintf(msg, "test gaussian_naive_bayes result=%ld \r\n", out);
	HAL_UART_Transmit(&huart2, (uint8_t*) msg, strlen(msg), HAL_MAX_DELAY);
	HAL_UART_Transmit(&huart2, (uint8_t*) "\r\n", strlen("\r\n"),
	HAL_MAX_DELAY);

	return out;
}

int32_t random_forest_test(void) {
	const int n_features = 14;
//	const int n_testcases = testset_samples;
	float32_t features[] = { tdFeatures.RMS, tdFeatures.VarianceVal,
			tdFeatures.SigShapeFactor, tdFeatures.SigKurtosisVal,
			tdFeatures.SigSkewnessVal, tdFeatures.SigImpulseFactor,
			tdFeatures.SigCrestFactor, tdFeatures.SigMarginFactor,
			fdFeatures.PeakAmp1, fdFeatures.PeakAmp2, fdFeatures.PeakAmp3,
			fdFeatures.PeakLocs1, fdFeatures.PeakLocs2, fdFeatures.PeakLocs3 };

//	int errors = 0;
	char msg[80];
	const int32_t out = model_predict(features, n_features);

//	if (out != expect_result) {
//		printf("test-fail sample=%d expect=%d got=%d \r\n", i, expect_result, out);
//		errors += 1;
//	}

	sprintf(msg, "test random_forest result=%ld \r\n", out);
	HAL_UART_Transmit(&huart2, (uint8_t*) msg, strlen(msg), HAL_MAX_DELAY);
	HAL_UART_Transmit(&huart2, (uint8_t*) "\r\n", strlen("\r\n"),
	HAL_MAX_DELAY);

	return out;
}

int32_t run_inference(int32_t (*func)(void)) {

	return func();
}

/* USER CODE END 4 */

void Error_Handler(void) {
	__disable_irq();
	while (1) {
	}
}
